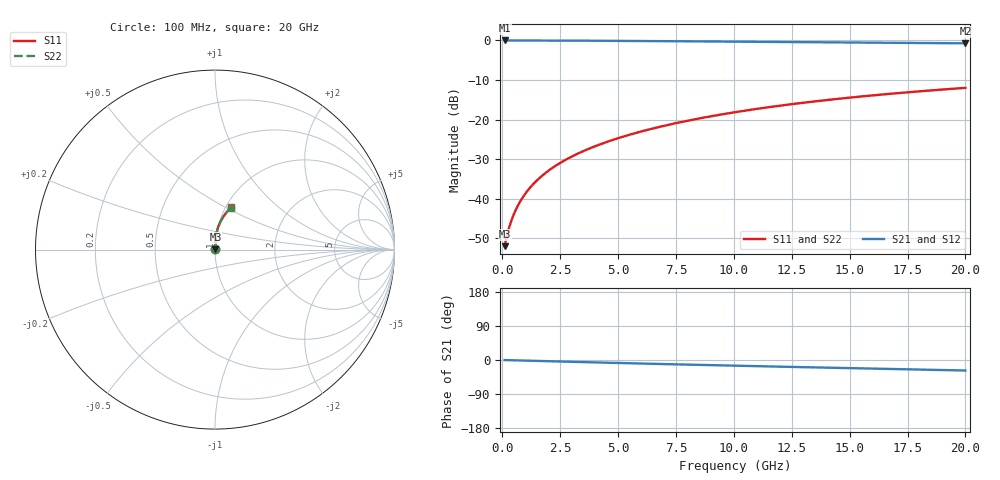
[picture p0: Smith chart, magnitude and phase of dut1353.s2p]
! Touchstone file exported from HFSS 2024.1.0
!  File:  C:/UserFiles/LocalFiles/RDL_TSV_Batchsim/temp_RDL_bottom_1353_1780370380.aedt
!  Generated:  11:21:44 AM Jun  2, 2026
!  Design:  RDL_bottom
!  Project:  temp_RDL_bottom_1353_1780370380
!  Setup:  Setup1
!  Solution:  Sweep
! Variables:
!  dtsv = 10.80580581um
!  hbump = 3um
!  htsv = 57.96um
!  ldown = 410.54um
!  lrdl = 100um
!  p = 40
!  p1 = 40.14um
!  rhole = 1um
!  t = 450um
!  tdown = 3.6um
!  trdl = 3.915915916um
!  wdown = 20.39um
!  wrdl = 20um
# GHz S MA R 50.000000
! Terminal data exported
! Port[1] = RDL1_T1
! Port[2] = RDL1_T2
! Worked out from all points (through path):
!   200 points, 100 MHz to 20 GHz, reference 50 ohm
!   highest |S21| = -0.02 dB at 100 MHz (marker M1); lowest = -0.7 dB at 20 GHz (marker M2)
!   group delay of S21, straight-line fit = 3.81 ps
!   lowest |S11| = -52.0 dB at 100 MHz (marker M3), VSWR 1.01, Z = 50.2 + j0.129 ohm
!   |S11| at or under -10 dB: start of sweep to end of sweep
!   |S22| runs from -52.0 to -12.0 dB; largest |S21 - S12| = 5.5e-15
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0.1  0.002525 30.5  0.9978 -0.2  0.9978 -0.2  0.002525 30.5
! Gamma 0 0 0 0
! Port Impedance 50 0 50 0
0.2  0.003389 47.6  0.9977 -0.3  0.9977 -0.3  0.003389 47.6
0.3  0.004378 56.8  0.9976 -0.5  0.9976 -0.5  0.004378 56.8
0.4  0.005391 62.5  0.9974 -0.7  0.9974 -0.7  0.005391 62.5
0.5  0.006414 66.4  0.9973 -0.8  0.9973 -0.8  0.006414 66.4
0.6  0.007446 69.4  0.9972 -1.0  0.9972 -1.0  0.007446 69.4
0.8  0.009542 73.7  0.997 -1.3  0.997 -1.3  0.009542 73.7
1  0.01168 76.6  0.9967 -1.6  0.9967 -1.6  0.01168 76.5
1.2  0.01384 78.6  0.9965 -2.0  0.9965 -2.0  0.01384 78.6
1.4  0.01603 80.1  0.9962 -2.3  0.9962 -2.3  0.01603 80.1
1.7  0.01935 81.8  0.9957 -2.8  0.9957 -2.8  0.01935 81.8
2.2  0.02497 83.5  0.9947 -3.5  0.9947 -3.5  0.02497 83.5
2.8  0.03185 84.8  0.9933 -4.5  0.9933 -4.5  0.03185 84.8
3.5  0.04004 85.6  0.9912 -5.6  0.9912 -5.6  0.04003 85.6
4.2  0.04842 86.0  0.9889 -6.7  0.9889 -6.7  0.04841 85.9
5  0.05823 86.0  0.9859 -7.9  0.9859 -7.9  0.05821 86.0
6.8  0.08106 85.3  0.9783 -10.5  0.9783 -10.5  0.08102 85.2
8.4  0.102 84.0  0.9712 -12.8  0.9712 -12.8  0.102 83.9
10.1  0.1247 82.1  0.9634 -15.1  0.9634 -15.1  0.1245 82.1
13.4  0.1685 78.0  0.9484 -19.4  0.9484 -19.4  0.1684 77.9
16.7  0.2111 73.5  0.9333 -23.6  0.9333 -23.6  0.2109 73.4
20  0.2516 69.0  0.9182 -27.7  0.9182 -27.7  0.2513 68.9
